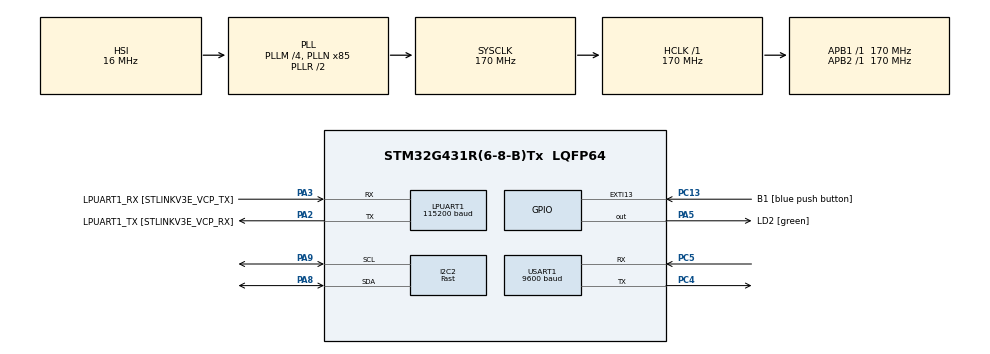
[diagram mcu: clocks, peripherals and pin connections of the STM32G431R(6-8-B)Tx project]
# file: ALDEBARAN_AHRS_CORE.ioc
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Dma.Request0=USART1_RX
Dma.Request1=USART1_TX
Dma.USART1_RX.0.Direction=DMA_PERIPH_TO_MEMORY
Dma.USART1_RX.0.EventEnable=DISABLE
Dma.USART1_RX.0.Instance=DMA1_Channel1
Dma.USART1_RX.0.MemDataAlignment=DMA_MDATAALIGN_BYTE
Dma.USART1_RX.0.MemInc=DMA_MINC_ENABLE
Dma.USART1_RX.0.Mode=DMA_NORMAL
Dma.USART1_RX.0.PeriphDataAlignment=DMA_PDATAALIGN_BYTE
Dma.USART1_RX.0.PeriphInc=DMA_PINC_DISABLE
Dma.USART1_RX.0.Polarity=HAL_DMAMUX_REQ_GEN_RISING
Dma.USART1_RX.0.Priority=DMA_PRIORITY_LOW
Dma.USART1_RX.0.RequestNumber=1
Dma.USART1_RX.0.SignalID=NONE
Dma.USART1_RX.0.SyncEnable=DISABLE
Dma.USART1_RX.0.SyncPolarity=HAL_DMAMUX_SYNC_NO_EVENT
Dma.USART1_RX.0.SyncRequestNumber=1
Dma.USART1_RX.0.SyncSignalID=NONE
Dma.USART1_TX.1.Direction=DMA_MEMORY_TO_PERIPH
Dma.USART1_TX.1.EventEnable=DISABLE
Dma.USART1_TX.1.Instance=DMA1_Channel2
Dma.USART1_TX.1.MemDataAlignment=DMA_MDATAALIGN_BYTE
Dma.USART1_TX.1.MemInc=DMA_MINC_ENABLE
Dma.USART1_TX.1.Mode=DMA_NORMAL
Dma.USART1_TX.1.PeriphDataAlignment=DMA_PDATAALIGN_BYTE
Dma.USART1_TX.1.PeriphInc=DMA_PINC_DISABLE
Dma.USART1_TX.1.Polarity=HAL_DMAMUX_REQ_GEN_RISING
Dma.USART1_TX.1.Priority=DMA_PRIORITY_LOW
Dma.USART1_TX.1.RequestNumber=1
Dma.USART1_TX.1.SignalID=NONE
Dma.USART1_TX.1.SyncEnable=DISABLE
Dma.USART1_TX.1.SyncPolarity=HAL_DMAMUX_SYNC_NO_EVENT
Dma.USART1_TX.1.SyncRequestNumber=1
Dma.USART1_TX.1.SyncSignalID=NONE
FREERTOS.Tasks01=AHRS_Update,24,128,StartDefaultTask,Default,NULL,Dynamic,NULL,NULL;BMP388,16,128,StartTask02,Default,NULL,Dynamic,NULL,NULL;GNSS,16,128,StartTask03,Default,NULL,Dynamic,NULL,NULL;MPU9250,32,128,StartTask04,Default,NULL,Dynamic,NULL,NULL
FREERTOS.configUSE_NEWLIB_REENTRANT=1
I2C2.I2C_Speed_Mode=I2C_Fast
I2C2.Timing=0x10802D9B
LPUART1.BaudRate=115200
LPUART1.WordLength=UART_WORDLENGTH_8B
Mcu.Family=STM32G4
Mcu.Name=STM32G431R(6-8-B)Tx
Mcu.Package=LQFP64
NVIC.DMA1_Channel1_IRQn=true\:5\:0\:false\:false\:true\:true\:false\:true
NVIC.DMA1_Channel2_IRQn=true\:5\:0\:false\:false\:true\:true\:false\:true
NVIC.PriorityGroup=NVIC_PRIORITYGROUP_4
NVIC.TIM2_IRQn=true\:15\:0\:false\:false\:true\:false\:false\:true
NVIC.TimeBase=TIM2_IRQn
NVIC.TimeBaseIP=TIM2
NVIC.USART1_IRQn=true\:5\:0\:false\:false\:true\:true\:true\:true
PA13.GPIO_Label=T_SWDIO
PA13.Mode=Serial_Wire
PA13.Signal=SYS_JTMS-SWDIO
PA14.GPIO_Label=T_SWCLK
PA14.Mode=Serial_Wire
PA14.Signal=SYS_JTCK-SWCLK
PA2.GPIO_Label=LPUART1_TX [STLINKV3E_VCP_RX]
PA2.Mode=Asynchronous
PA2.Signal=LPUART1_TX
PA3.GPIO_Label=LPUART1_RX [STLINKV3E_VCP_TX]
PA3.Mode=Asynchronous
PA3.Signal=LPUART1_RX
PA5.GPIO_Label=LD2 [green]
PA5.Signal=GPIO_Output
PA8.Mode=I2C
PA8.Signal=I2C2_SDA
PA9.Mode=I2C
PA9.Signal=I2C2_SCL
PB3.GPIO_Label=T_SWO
PB3.Signal=SYS_JTDO-SWO
PC13.GPIO_Label=B1 [blue push button]
PC13.Signal=GPXTI13
PC14-OSC32_IN.Mode=LSE-External-Oscillator
PC14-OSC32_IN.Signal=RCC_OSC32_IN
PC15-OSC32_OUT.Mode=LSE-External-Oscillator
PC15-OSC32_OUT.Signal=RCC_OSC32_OUT
PC4.Mode=Asynchronous
PC4.Signal=USART1_TX
PC5.Mode=Asynchronous
PC5.Signal=USART1_RX
PF0-OSC_IN.Mode=HSE-External-Oscillator
PF0-OSC_IN.Signal=RCC_OSC_IN
PF1-OSC_OUT.Mode=HSE-External-Oscillator
PF1-OSC_OUT.Signal=RCC_OSC_OUT
ProjectManager.HeapSize=0x200
ProjectManager.StackSize=0x400
ProjectManager.TargetToolchain=STM32CubeIDE
RCC.ADC12Freq_Value=170000000
RCC.AHBFreq_Value=170000000
RCC.APB1Freq_Value=170000000
RCC.APB1TimFreq_Value=170000000
RCC.APB2Freq_Value=170000000
RCC.APB2TimFreq_Value=170000000
RCC.CortexFreq_Value=170000000
RCC.EXTERNAL_CLOCK_VALUE=12288000
RCC.HCLKFreq_Value=170000000
RCC.HSE_VALUE=24000000
RCC.HSI48_VALUE=48000000
RCC.HSI_VALUE=16000000
RCC.PLLM=RCC_PLLM_DIV4
RCC.PLLN=85
RCC.RTCClockSelection=RCC_RTCCLKSOURCE_LSE
RCC.SYSCLKFreq_VALUE=170000000
RCC.SYSCLKSource=RCC_SYSCLKSOURCE_PLLCLK
RCC.USBFreq_Value=170000000
RCC.VCOOutputFreq_Value=340000000
USART1.BaudRate=9600
USART1.VirtualMode-Asynchronous=VM_ASYNC
VP_FREERTOS_VS_CMSIS_V2.Mode=CMSIS_V2
VP_SYS_VS_DBSignals.Mode=DisableDeadBatterySignals
VP_SYS_VS_tim2.Mode=TIM2
board=NUCLEO-G431RB

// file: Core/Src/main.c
/* USER CODE BEGIN Header */
/**
  ******************************************************************************
  * @file           : main.c
  * @brief          : Main program body
  ******************************************************************************
  * @attention
  *
  * Copyright (c) 2022 STMicroelectronics.
  * All rights reserved.
  *
  * This software is licensed under terms that can be found in the LICENSE file
  * in the root directory of this software component.
  * If no LICENSE file comes with this software, it is provided AS-IS.
  *
  ******************************************************************************
  */
/* USER CODE END Header */
#include "main.h"
#include "cmsis_os.h"
#include "dma.h"
#include "i2c.h"
#include "usart.h"
#include "gpio.h"

/* USER CODE BEGIN Includes */
#include <stdint.h>
#include <stdio.h>

#include "GNSS.h"
#include "bmp388.h"
#include "mpu9255.h"
/* USER CODE END Includes */

void SystemClock_Config(void);
void MX_FREERTOS_Init(void);

/* USER CODE BEGIN 0 */

int _write(int file, char *ptr, int len)
{
	HAL_UART_Transmit(&hlpuart1, (uint8_t*)ptr, len, HAL_MAX_DELAY);
	return len;
}

/* USER CODE END 0 */

int main(void)
{

  /* MCU Configuration--------------------------------------------------------*/

  /* Reset of all peripherals, Initializes the Flash interface and the Systick. */
  HAL_Init();

  /* Configure the system clock */
  SystemClock_Config();

  /* Initialize all configured peripherals */
  MX_GPIO_Init();
  MX_LPUART1_UART_Init();
  MX_DMA_Init();
  MX_I2C2_Init();
  MX_USART1_UART_Init();
  /* USER CODE BEGIN 2 */

  //init BMP388
  BMP388_init();
  printf("BMP388 Init OK \r\n");

  //init MPU9255
  while (MPU9255_Init(&hi2c2) == 1);
  printf("MPU9250 Init OK \r\n");

  //init GNSS
  GNSS_Init(&GNSS_Handle, &huart1);
  HAL_Delay(1000);
  GNSS_LoadConfig(&GNSS_Handle);
  GNSS_SetMode(&GNSS_Handle, Stationary);
  printf("GNSS Init OK \r\n");
  HAL_Delay(250);

  /* USER CODE END 2 */

  /* Init scheduler */
  osKernelInitialize();  /* Call init function for freertos objects (in freertos.c) */
  MX_FREERTOS_Init();
  /* Start scheduler */
  osKernelStart();

  /* We should never get here as control is now taken by the scheduler */
  /* Infinite loop */
  while (1)
  {

  }
}

void SystemClock_Config(void)
{
  RCC_OscInitTypeDef RCC_OscInitStruct = {0};
  RCC_ClkInitTypeDef RCC_ClkInitStruct = {0};

  /** Configure the main internal regulator output voltage
  */
  HAL_PWREx_ControlVoltageScaling(PWR_REGULATOR_VOLTAGE_SCALE1_BOOST);
  /** Initializes the RCC Oscillators according to the specified parameters
  * in the RCC_OscInitTypeDef structure.
  */
  RCC_OscInitStruct.OscillatorType = RCC_OSCILLATORTYPE_HSI;
  RCC_OscInitStruct.HSIState = RCC_HSI_ON;
  RCC_OscInitStruct.HSICalibrationValue = RCC_HSICALIBRATION_DEFAULT;
  RCC_OscInitStruct.PLL.PLLState = RCC_PLL_ON;
  RCC_OscInitStruct.PLL.PLLSource = RCC_PLLSOURCE_HSI;
  RCC_OscInitStruct.PLL.PLLM = RCC_PLLM_DIV4;
  RCC_OscInitStruct.PLL.PLLN = 85;
  RCC_OscInitStruct.PLL.PLLP = RCC_PLLP_DIV2;
  RCC_OscInitStruct.PLL.PLLQ = RCC_PLLQ_DIV2;
  RCC_OscInitStruct.PLL.PLLR = RCC_PLLR_DIV2;
  if (HAL_RCC_OscConfig(&RCC_OscInitStruct) != HAL_OK)
  {
    Error_Handler();
  }
  /** Initializes the CPU, AHB and APB buses clocks
  */
  RCC_ClkInitStruct.ClockType = RCC_CLOCKTYPE_HCLK|RCC_CLOCKTYPE_SYSCLK
                              |RCC_CLOCKTYPE_PCLK1|RCC_CLOCKTYPE_PCLK2;
  RCC_ClkInitStruct.SYSCLKSource = RCC_SYSCLKSOURCE_PLLCLK;
  RCC_ClkInitStruct.AHBCLKDivider = RCC_SYSCLK_DIV1;
  RCC_ClkInitStruct.APB1CLKDivider = RCC_HCLK_DIV1;
  RCC_ClkInitStruct.APB2CLKDivider = RCC_HCLK_DIV1;

  if (HAL_RCC_ClockConfig(&RCC_ClkInitStruct, FLASH_LATENCY_4) != HAL_OK)
  {
    Error_Handler();
  }
}

void HAL_TIM_PeriodElapsedCallback(TIM_HandleTypeDef *htim)
{
  if (htim->Instance == TIM2) {
    HAL_IncTick();
  }
}

void Error_Handler(void)
{
  __disable_irq();
  while (1)
  {
  }
}

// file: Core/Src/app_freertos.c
/* USER CODE BEGIN Header */
/**
  ******************************************************************************
  * File Name          : app_freertos.c
  * Description        : Code for freertos applications
  ******************************************************************************
  * @attention
  *
  * Copyright (c) 2022 STMicroelectronics.
  * All rights reserved.
  *
  * This software is licensed under terms that can be found in the LICENSE file
  * in the root directory of this software component.
  * If no LICENSE file comes with this software, it is provided AS-IS.
  *
  ******************************************************************************
  */
/* USER CODE END Header */

#include "FreeRTOS.h"
#include "task.h"
#include "main.h"
#include "cmsis_os.h"

/* USER CODE BEGIN Includes */
#include "GNSS.h"
#include "bmp388.h"
#include "mpu9255.h"
/* USER CODE END Includes */

/* USER CODE BEGIN Variables */

// create BMP388 instance
BMP388_t BMP388;

// create MPU9255 instance
MPU9255_t MPU9255;

// Variables to store BMP388 Data
float temperature, pressure, baroAltitude;

// Variables to store MPU925 Data
float pitch, yaw, roll;

// Variables to store GPS Data
float latitude, longitude, gpsAltitude, gpsAltitudeMSL, speed, fix, satellites, day, month, year;
int fixPrint;

// Timer for printer
int printTimer = 0;

// Time holder for GPS
int gpsTimer = 0;

/* USER CODE END Variables */
/* Definitions for AHRS_Update */
osThreadId_t AHRS_UpdateHandle;
const osThreadAttr_t AHRS_Update_attributes = {
  .name = "AHRS_Update",
  .priority = (osPriority_t) osPriorityNormal,
  .stack_size = 128 * 4
};
/* Definitions for BMP388 */
osThreadId_t BMP388Handle;
const osThreadAttr_t BMP388_attributes = {
  .name = "BMP388",
  .priority = (osPriority_t) osPriorityBelowNormal,
  .stack_size = 128 * 4
};
/* Definitions for GNSS */
osThreadId_t GNSSHandle;
const osThreadAttr_t GNSS_attributes = {
  .name = "GNSS",
  .priority = (osPriority_t) osPriorityBelowNormal,
  .stack_size = 128 * 4
};
/* Definitions for MPU9250 */
osThreadId_t MPU9250Handle;
const osThreadAttr_t MPU9250_attributes = {
  .name = "MPU9250",
  .priority = (osPriority_t) osPriorityAboveNormal,
  .stack_size = 128 * 4
};

void StartAHRS_UpdateTask(void *argument);
void StartBMP388Task(void *argument);
void StartGNSSTask(void *argument);
void StartMPU9250Task(void *argument);

void MX_FREERTOS_Init(void); /* (MISRA C 2004 rule 8.1) */

void MX_FREERTOS_Init(void) {

  /* Create the thread(s) */
  /* creation of AHRS_Update */
  AHRS_UpdateHandle = osThreadNew(StartAHRS_UpdateTask, NULL, &AHRS_Update_attributes);

  /* creation of BMP388 */
  BMP388Handle = osThreadNew(StartBMP388Task, NULL, &BMP388_attributes);

  /* creation of GNSS */
  GNSSHandle = osThreadNew(StartGNSSTask, NULL, &GNSS_attributes);

  /* creation of MPU9250 */
  MPU9250Handle = osThreadNew(StartMPU9250Task, NULL, &MPU9250_attributes);

}

void StartAHRS_UpdateTask(void *argument)
{
  /* USER CODE BEGIN StartAHRS_UpdateTask */
  /* Infinite loop */
  for(;;)
  {
	  //Update variables from BMP388
	  pressure = BMP388.Pressure;
	  temperature = BMP388.Temperature;
	  baroAltitude = BMP388.Altitude;

	  //Update variables from MPU9255
	  pitch = MPU9255.pitch;
	  yaw = MPU9255.yaw;
	  roll= MPU9255.roll;

	  //Update variables from GPS
	  latitude = GNSS_Handle.fLat;
	  longitude = (GNSS_Handle.lon / 10000000.0);
	  gpsAltitude = (GNSS_Handle.height / 1000.0);
	  gpsAltitudeMSL = (GNSS_Handle.hMSL / 1000.0);
	  speed = GNSS_Handle.gSpeed;
	  fix = GNSS_Handle.fixType;
	  fixPrint = fix;
	  satellites = GNSS_Handle.numSV;
	  day = GNSS_Handle.day;
	  month = GNSS_Handle.month;
	  year = GNSS_Handle.year;

	  /*
	  if ((HAL_GetTick() - printTimer) > 1001) {

		  printf("Pressure: %f\r\n", pressure);
		  printf("Temperature: %f\r\n", temperature);
		  printf("Barometer Altitude: %f\r\n", baroAltitude);
		  printf("- - - - -\r\n");

		  printf("Pitch: %f\r\n", pitch);
		  printf("Yaw: %f\r\n", yaw);
		  printf("Roll: %f\r\n", roll);
		  printf("- - - - -\r\n");

		  printf("Latitude: %f\r\n", latitude);
		  printf("Longitude: %f\r\n", longitude);
		  printf("GPS Altitude: %f\r\n", gpsAltitude);
		  printf("GPS Altitude MSL: %f\r\n", gpsAltitudeMSL);
		  printf("Velocity: %f\r\n", speed);
		  printf("GPS Fix Type: %dD Fix \r\n", fixPrint);
		  printf("Num. of Satellites: %f\r\n", satellites);
		  printf("Day: %f\r\n", day);
		  printf("Month: %f\r\n", month);
		  printf("Year: %f\r\n", year);

		  printf("********************************\r\n");
		  printTimer = HAL_GetTick();
	  }
	*/

	  printTimer++;

    osDelay(1);
  }
  /* USER CODE END StartAHRS_UpdateTask */
}

void StartBMP388Task(void *argument)
{
  /* USER CODE BEGIN StartBMP388Task */
  /* Infinite loop */
  for(;;)
  {
	  BMP388_Read(&BMP388);

    osDelay(1);
  }
  /* USER CODE END StartBMP388Task */
}

void StartGNSSTask(void *argument)
{
  /* USER CODE BEGIN StartGNSSTask */
  /* Infinite loop */
  for(;;)
  {
	if ((HAL_GetTick() - gpsTimer) > 300) {

		GNSS_GetUniqID(&GNSS_Handle);
		GNSS_ParseBuffer(&GNSS_Handle);
		HAL_Delay(250);

		GNSS_GetPVTData(&GNSS_Handle);
		GNSS_ParseBuffer(&GNSS_Handle);

		gpsTimer = HAL_GetTick();
	}
	gpsTimer++;
    osDelay(1);
  }
  /* USER CODE END StartGNSSTask */
}

void StartMPU9250Task(void *argument)
{
  /* USER CODE BEGIN StartMPU9250Task */
  /* Infinite loop */
  for(;;)
  {
	  readAll(&hi2c2, &MPU9255);

    osDelay(1);
  }
  /* USER CODE END StartMPU9250Task */
}
